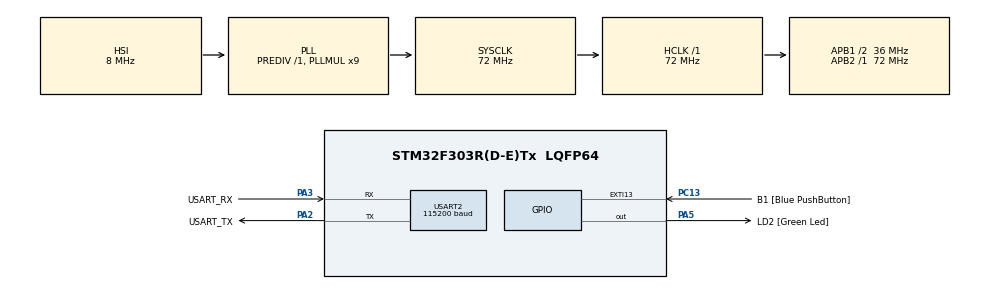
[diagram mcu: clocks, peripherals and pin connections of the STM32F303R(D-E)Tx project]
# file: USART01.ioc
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Mcu.Family=STM32F3
PC15-OSC32_OUT.Mode=LSE-External-Oscillator
PA2.GPIO_PuPd=GPIO_NOPULL
RCC.CortexFreq_Value=72000000
PC13.Signal=GPXTI13
PA14.GPIO_Label=TCK
RCC.SYSCLKSourceVirtual=RCC_SYSCLKSOURCE_PLLCLK
PA3.GPIO_PuPd=GPIO_NOPULL
PA2.GPIO_Speed=GPIO_SPEED_FREQ_LOW
PC13.GPIO_Label=B1 [Blue PushButton]
RCC.APB1CLKDivider=RCC_HCLK_DIV2
PC14-OSC32_IN.Signal=RCC_OSC32_IN
PA3.GPIO_Speed=GPIO_SPEED_FREQ_LOW
USART2.BaudRate=115200
ProjectManager.StackSize=0x400
PA13.Signal=SYS_JTMS-SWDIO
PA3.Mode=Asynchronous
ProjectManager.TargetToolchain=STM32CubeIDE
PA3.GPIO_Mode=GPIO_MODE_AF_PP
RCC.HCLKFreq_Value=72000000
RCC.APB2TimFreq_Value=72000000
RCC.USBFreq_Value=72000000
PC15-OSC32_OUT.Signal=RCC_OSC32_OUT
RCC.AHBFreq_Value=72000000
PF0-OSC_IN.Mode=HSE-External-Clock-Source
PA5.Signal=GPIO_Output
RCC.HSE_VALUE=8000000
board=NUCLEO-F303RE
USART2.VirtualMode-Asynchronous=VM_ASYNC
RCC.RCC_PLLsource_Clock_Source_FROM_HSE=RCC_HSE_PREDIV_DIV2
RCC.PLLMUL=RCC_PLL_MUL9
RCC.APB2Freq_Value=72000000
PC14-OSC32_IN.Mode=LSE-External-Oscillator
PA14.Mode=Serial_Wire
PA5.GPIO_PuPd=GPIO_NOPULL
PA13.Mode=Serial_Wire
Mcu.Name=STM32F303R(D-E)Tx
PA2.Signal=USART2_TX
PA13.GPIO_Label=TMS
PB3.Signal=SYS_JTDO-TRACESWO
RCC.SYSCLKFreq_VALUE=72000000
Mcu.Package=LQFP64
PA5.GPIO_Label=LD2 [Green Led]
PC13.GPIO_ModeDefaultEXTI=GPIO_MODE_IT_FALLING
PA2.GPIO_Label=USART_TX
PA14.Signal=SYS_JTCK-SWCLK
ProjectManager.HeapSize=0x200
RCC.HSI_VALUE=8000000
RCC.PLLP=RCC_PLLP_DIV4
PA5.GPIO_Speed=GPIO_SPEED_FREQ_LOW
RCC.PLLQ=7
NVIC.PriorityGroup=NVIC_PRIORITYGROUP_0
RCC.PLLM=8
RCC.PLLN=336
RCC.APB1TimFreq_Value=72000000
PA2.Mode=Asynchronous
PF0-OSC_IN.Signal=RCC_OSC_IN
RCC.APB1Freq_Value=36000000
PA5.GPIO_Mode=GPIO_MODE_OUTPUT_PP
PF1-OSC_OUT.Signal=RCC_OSC_OUT
PA3.GPIO_Label=USART_RX
PA3.Signal=USART2_RX
PA2.GPIO_Mode=GPIO_MODE_AF_PP
PB3.GPIO_Label=SWO

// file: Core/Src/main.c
/* USER CODE BEGIN Header */
/**
  ******************************************************************************
  * @file           : main.c
  * @brief          : Main program body
  ******************************************************************************
  * @attention
  *
  * <h2><center>&copy; Copyright (c) 2021 STMicroelectronics.
  * All rights reserved.</center></h2>
  *
  * This software component is licensed by ST under BSD 3-Clause license,
  * the "License"; You may not use this file except in compliance with the
  * License. You may obtain a copy of the License at:
  *                        opensource.org/licenses/BSD-3-Clause
  *
  ******************************************************************************
  */
/* USER CODE END Header */
#include "main.h"
#include <string.h>

/* USER CODE BEGIN PD */
#define MAXUSERNAMELENGTH 20
#define MAXPASSWORDLENGTH 20
/* USER CODE END PD */

UART_HandleTypeDef huart2;
uint8_t buffer[100];
uint8_t smallBuffer[1];
uint8_t username[MAXUSERNAMELENGTH + 1];
uint8_t correctUsername[MAXUSERNAMELENGTH + 1] = "Slavko";
uint8_t correctPassword[MAXPASSWORDLENGTH + 1] = "empathy";
uint8_t password[MAXPASSWORDLENGTH + 1];
int i = 0;

void SystemClock_Config(void);
static void MX_GPIO_Init(void);
static void MX_USART2_UART_Init(void);

/* USER CODE BEGIN PFP */
void printSerial(char *);
void inputUsername(uint8_t*, int);
void inputPassword(uint8_t*, int);
int checkAccess(uint8_t *, uint8_t *, uint8_t *, uint8_t *);
/* USER CODE END PFP */

/* USER CODE BEGIN 0 */

//uint8_t buffer[100];
//uint8_t smallBuffer[1];
//uint8_t username[21];
//uint8_t correctUsername[21] = "Slavko";
//uint8_t correctPassword[21] = "empathy";
//uint8_t password[20];
//int i = 0;
UART_HandleTypeDef * huartAddress = &huart2;

/* USER CODE END 0 */

int main(void)
{

  /* MCU Configuration--------------------------------------------------------*/

  /* Reset of all peripherals, Initializes the Flash interface and the Systick. */
  HAL_Init();

  /* Configure the system clock */
  SystemClock_Config();

  /* Initialize all configured peripherals */
  MX_GPIO_Init();
  MX_USART2_UART_Init();

  /* Infinite loop */
  /* USER CODE BEGIN WHILE */
  while (1)
  {
	  printSerial("\r\nUsername: ");
	  inputUsername(username, 20);

	  printSerial("\r\nPassword: ");
	  inputPassword(password, 20);

	  if(checkAccess(username, password, correctUsername, correctPassword) == 0) {
		  printSerial("\r\nSTM32$ ");
	  }

	  printSerial("\r\nYour username is: ");
	  HAL_UART_Transmit(&huart2, username, strlen((char*)username), HAL_MAX_DELAY);

	  printSerial("\r\nYour password is: ");
	  HAL_UART_Transmit(&huart2, password, strlen((char*)password), HAL_MAX_DELAY);

	  //HAL_Delay(1000);
    /* USER CODE END WHILE */

  }
}

void SystemClock_Config(void)
{
  RCC_OscInitTypeDef RCC_OscInitStruct = {0};
  RCC_ClkInitTypeDef RCC_ClkInitStruct = {0};
  RCC_PeriphCLKInitTypeDef PeriphClkInit = {0};

  /** Initializes the RCC Oscillators according to the specified parameters
  * in the RCC_OscInitTypeDef structure.
  */
  RCC_OscInitStruct.OscillatorType = RCC_OSCILLATORTYPE_HSI;
  RCC_OscInitStruct.HSIState = RCC_HSI_ON;
  RCC_OscInitStruct.HSICalibrationValue = RCC_HSICALIBRATION_DEFAULT;
  RCC_OscInitStruct.PLL.PLLState = RCC_PLL_ON;
  RCC_OscInitStruct.PLL.PLLSource = RCC_PLLSOURCE_HSI;
  RCC_OscInitStruct.PLL.PLLMUL = RCC_PLL_MUL9;
  RCC_OscInitStruct.PLL.PREDIV = RCC_PREDIV_DIV1;
  if (HAL_RCC_OscConfig(&RCC_OscInitStruct) != HAL_OK)
  {
    Error_Handler();
  }
  /** Initializes the CPU, AHB and APB buses clocks
  */
  RCC_ClkInitStruct.ClockType = RCC_CLOCKTYPE_HCLK|RCC_CLOCKTYPE_SYSCLK
                              |RCC_CLOCKTYPE_PCLK1|RCC_CLOCKTYPE_PCLK2;
  RCC_ClkInitStruct.SYSCLKSource = RCC_SYSCLKSOURCE_PLLCLK;
  RCC_ClkInitStruct.AHBCLKDivider = RCC_SYSCLK_DIV1;
  RCC_ClkInitStruct.APB1CLKDivider = RCC_HCLK_DIV2;
  RCC_ClkInitStruct.APB2CLKDivider = RCC_HCLK_DIV1;

  if (HAL_RCC_ClockConfig(&RCC_ClkInitStruct, FLASH_LATENCY_2) != HAL_OK)
  {
    Error_Handler();
  }
  PeriphClkInit.PeriphClockSelection = RCC_PERIPHCLK_USART2;
  PeriphClkInit.Usart2ClockSelection = RCC_USART2CLKSOURCE_PCLK1;
  if (HAL_RCCEx_PeriphCLKConfig(&PeriphClkInit) != HAL_OK)
  {
    Error_Handler();
  }
}

static void MX_USART2_UART_Init(void)
{

  huart2.Instance = USART2;
  huart2.Init.BaudRate = 115200;
  huart2.Init.WordLength = UART_WORDLENGTH_8B;
  huart2.Init.StopBits = UART_STOPBITS_1;
  huart2.Init.Parity = UART_PARITY_NONE;
  huart2.Init.Mode = UART_MODE_TX_RX;
  huart2.Init.HwFlowCtl = UART_HWCONTROL_NONE;
  huart2.Init.OverSampling = UART_OVERSAMPLING_16;
  huart2.Init.OneBitSampling = UART_ONE_BIT_SAMPLE_DISABLE;
  huart2.AdvancedInit.AdvFeatureInit = UART_ADVFEATURE_NO_INIT;
  if (HAL_UART_Init(&huart2) != HAL_OK)
  {
    Error_Handler();
  }

}

static void MX_GPIO_Init(void)
{
  GPIO_InitTypeDef GPIO_InitStruct = {0};

  /* GPIO Ports Clock Enable */
  __HAL_RCC_GPIOC_CLK_ENABLE();
  __HAL_RCC_GPIOF_CLK_ENABLE();
  __HAL_RCC_GPIOA_CLK_ENABLE();
  __HAL_RCC_GPIOB_CLK_ENABLE();

  /*Configure GPIO pin Output Level */
  HAL_GPIO_WritePin(LD2_GPIO_Port, LD2_Pin, GPIO_PIN_RESET);

  /*Configure GPIO pin : B1_Pin */
  GPIO_InitStruct.Pin = B1_Pin;
  GPIO_InitStruct.Mode = GPIO_MODE_IT_FALLING;
  GPIO_InitStruct.Pull = GPIO_NOPULL;
  HAL_GPIO_Init(B1_GPIO_Port, &GPIO_InitStruct);

  /*Configure GPIO pin : LD2_Pin */
  GPIO_InitStruct.Pin = LD2_Pin;
  GPIO_InitStruct.Mode = GPIO_MODE_OUTPUT_PP;
  GPIO_InitStruct.Pull = GPIO_NOPULL;
  GPIO_InitStruct.Speed = GPIO_SPEED_FREQ_LOW;
  HAL_GPIO_Init(LD2_GPIO_Port, &GPIO_InitStruct);

}

/* USER CODE BEGIN 4 */
void printSerial(char * stringToPrint) {
	  strcpy((char*)buffer, stringToPrint);
	  HAL_UART_Transmit(&huart2, buffer, strlen((char*)buffer), 100);
}

void inputUsername(uint8_t * username, int usernameMaxLength) {
	  for(i = 0; i <= usernameMaxLength; i++) {
		  HAL_UART_Receive(&huart2, smallBuffer, sizeof(smallBuffer), HAL_MAX_DELAY);
		  HAL_UART_Transmit(&huart2, smallBuffer, sizeof(smallBuffer), HAL_MAX_DELAY);

		  if(i == 0 && smallBuffer[0] == '\r') {
			  username[0] = '\0';
			  smallBuffer[0] = '0';
			  printSerial("\r\nUsername: ");
			  i = -1;
			  continue;
		  }

		  if(i > 0 && smallBuffer[0] == '\r') {
			  username[i] = '\0';
			  smallBuffer[0] = '0';
			  return;
		  }

		  if(i < usernameMaxLength ) { // add check if it is alphanum and no special characters to write. Then also check what happens when you use special chars
			  username[i] = smallBuffer[0];
		  } else if(i == usernameMaxLength) {
			  printSerial("\r\nUsername too long. Max 20 characters.\r\n");
			  i = -1;
			  username[0] = '\0';
			  printSerial("\r\nUsername: ");
			  smallBuffer[0] = '0';
			  continue;
		  }
	  }
}

void inputPassword(uint8_t * password, int passwordMaxLength) {
	  for(i = 0; i <= passwordMaxLength; i++) {
		  HAL_UART_Receive(&huart2, smallBuffer, sizeof(smallBuffer), HAL_MAX_DELAY);

		  if(i == 0 && smallBuffer[0] == '\r') {
			  password[0] = '\0';
			  smallBuffer[0] = '0';
			  printSerial("\r\nPassword: ");
			  i = -1;
			  continue;
		  }

		  if(i > 0 && smallBuffer[0] == '\r') {
			  password[i] = '\0';
			  smallBuffer[0] = '0';
			  return;
		  }

		  strcpy((char*)buffer, "*");
		  HAL_UART_Transmit(&huart2, buffer, strlen((char*)buffer), 100);

		  if(i < passwordMaxLength) {
			  password[i] = smallBuffer[0];
		  } else if(i == passwordMaxLength){
			  printSerial("\r\nPassword too long. Max 20 characters.\r\n");
			  i = -1;
			  password[0] = '\0';
			  printSerial("\r\nPassword: ");
			  smallBuffer[0] = '0';
			  continue;
		  }
	  }
}

int checkAccess(uint8_t * username, uint8_t * password, uint8_t * correctUsername, uint8_t * correctPassword) {
	  if(strcmp((const char*)username, (const char*)correctUsername) == 0 && strcmp((const char*)password, (const char*)correctPassword) == 0) {
		  printSerial("\r\nHello ");
		  printSerial((char*)username);
		  printSerial(".");
		  return 0;
	  } else {
		  printSerial("\r\nWrong username or password. Please try again.");
		  return 1;
	  }
}

/* USER CODE END 4 */

void Error_Handler(void)
{
  __disable_irq();
  while (1)
  {
  }
}

/************************ (C) COPYRIGHT STMicroelectronics *****END OF FILE****/
